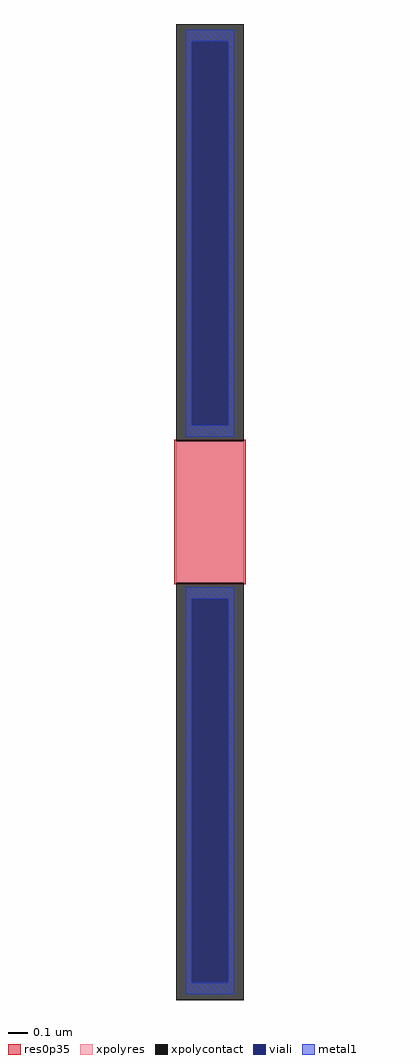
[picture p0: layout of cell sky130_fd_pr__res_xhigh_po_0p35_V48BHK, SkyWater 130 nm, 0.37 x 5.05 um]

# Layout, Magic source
magic
tech sky130A
magscale 1 2
<< xpolycontact >>
rect -35 73 35 505
rect -35 -505 35 -73
<< xpolyres >>
rect -35 -73 35 73
<< viali >>
rect -19 90 19 487
rect -19 -487 19 -90
<< metal1 >>
rect -25 487 25 499
rect -25 90 -19 487
rect 19 90 25 487
rect -25 78 25 90
rect -25 -90 25 -78
rect -25 -487 -19 -90
rect 19 -487 25 -90
rect -25 -499 25 -487
<< res0p35 >>
rect -37 -75 37 75
<< properties >>
string gencell sky130_fd_pr__res_xhigh_po_0p35
string parameters w 0.350 l 0.73 m 1 nx 1 wmin 0.350 lmin 0.50 rho 2000 val 4.857k dummy 0 dw 0.0 term 120 sterm 0.0 caplen 0 wmax 0.350 guard 0 glc 0 grc 0 gtc 0 gbc 0 compatible {sky130_fd_pr__res_xhigh_po_0p35  sky130_fd_pr__res_xhigh_po_0p69 sky130_fd_pr__res_xhigh_po_1p41  sky130_fd_pr__res_xhigh_po_2p85 sky130_fd_pr__res_xhigh_po_5p73} full_metal 0 vias 1 viagb 0 viagt 0 viagl 0 viagr 0
string library sky130
<< end >>
